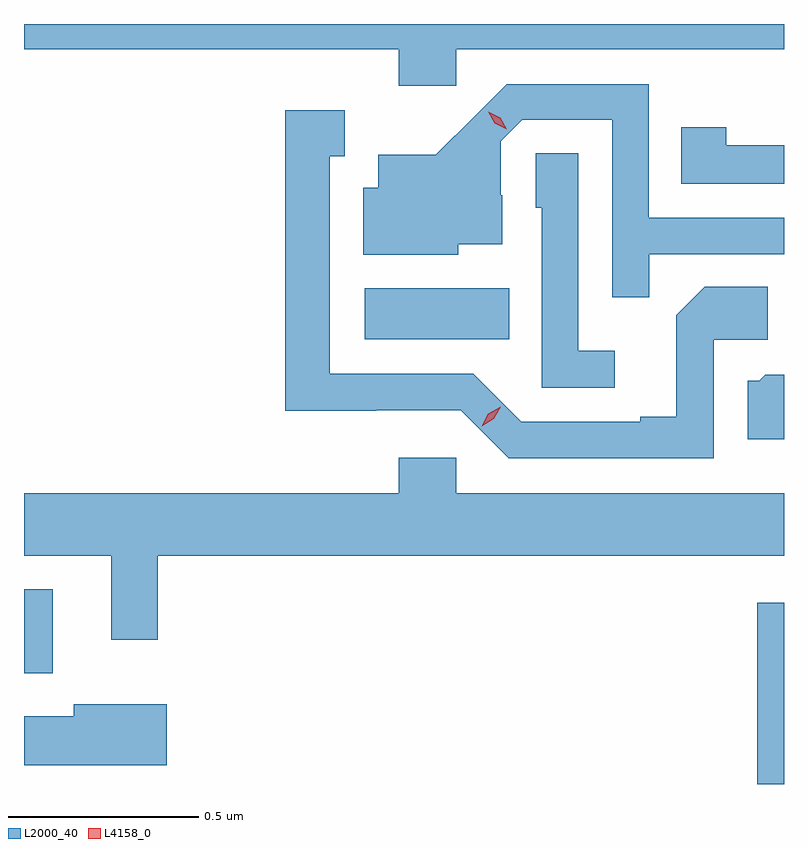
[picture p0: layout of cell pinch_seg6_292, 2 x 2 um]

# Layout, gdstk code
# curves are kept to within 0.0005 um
import gdstk
lib = gdstk.Library(unit=1e-6, precision=1e-09)
def R(c, l, rs):  # rectangles x0, y0, x1, y1
    for r in rs: c.add(gdstk.rectangle(r[:2], r[2:], *l))
def P(c, l, *ps):  # polygons
    for p in ps: c.add(gdstk.Polygon(p, *l))
L2000_40 = (2000, 40)
L4158_0 = (4158, 0)

pinch_seg6_292 = lib.new_cell('pinch_seg6_292')
R(pinch_seg6_292, L2000_40, [(870.12,994.687,870.191,995.164), (868.191,994.979,868.267,995.2), (869.088,995.858,869.468,995.992)])
P(pinch_seg6_292, L2000_40, [(868.191,996.62),(869.177,996.62),(869.177,996.525),(869.328,996.525),(869.328,996.62),(870.191,996.62),(870.191,996.687),(868.191,996.687)],
  [(869.837,996.081),(870.191,996.081),(870.191,996.177),(869.835,996.177),(869.835,996.528),(869.462,996.528),(869.275,996.343),(869.123,996.343),(869.123,996.256),(869.084,996.256),(869.084,996.08),(869.334,996.08),(869.334,996.107),(869.449,996.107),(869.449,996.236),(869.445,996.236),(869.445,996.378),(869.502,996.435),(869.739,996.435),(869.739,995.968),(869.837,995.968)],
  [(870.006,995.856),(870.148,995.856),(870.148,995.996),(869.983,995.996),(869.907,995.92),(869.907,995.653),(869.813,995.653),(869.813,995.64),(869.499,995.64),(869.373,995.766),(868.996,995.766),(868.996,996.339),(869.035,996.339),(869.035,996.46),(868.878,996.46),(868.878,995.669),(869.118,995.669),(869.118,995.67),(869.34,995.67),(869.466,995.544),(870.006,995.544)],
  [(870.191,996.368),(870.039,996.368),(870.039,996.415),(869.92,996.415),(869.92,996.267),(870.191,996.267)],
  [(869.746,995.827),(869.649,995.827),(869.649,996.347),(869.538,996.347),(869.538,996.204),(869.553,996.204),(869.553,995.73),(869.746,995.73)],
  [(870.191,995.764),(870.142,995.764),(870.126,995.748),(870.095,995.748),(870.095,995.594),(870.191,995.594)],
  [(868.543,995.288),(870.191,995.288),(870.191,995.452),(869.328,995.452),(869.328,995.545),(869.177,995.545),(869.177,995.452),(868.191,995.452),(868.191,995.288),(868.421,995.288),(868.421,995.067),(868.543,995.067)],
  [(868.567,994.897),(868.322,994.897),(868.322,994.865),(868.191,994.865),(868.191,994.736),(868.567,994.736)])
P(pinch_seg6_292, L4158_0, [(869.461,996.41),(869.43,996.426),(869.413,996.456),(869.413,996.456),(869.413,996.456),(869.444,996.44),(869.461,996.41),(869.461,996.41)],
  [(869.395,995.629),(869.395,995.629),(869.413,995.662),(869.445,995.68),(869.445,995.68),(869.445,995.68),(869.427,995.648),(869.396,995.629)])

lib.write_gds('pinch_seg6_292.gds')
